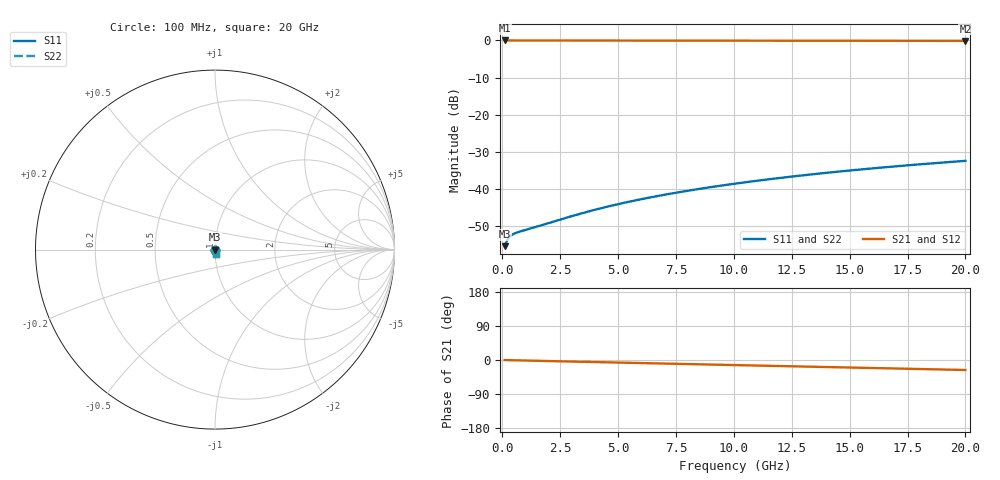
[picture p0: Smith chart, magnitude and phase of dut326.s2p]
! Touchstone file exported from HFSS 2026.1.0
!  File:  C:/ffzhzh/LocalFiles/Ansys_Project_Files/temp_train_BSMRDL_326_1783010926_4048.aedt
!  Generated:  12:50:03 AM Jul  3, 2026
!  Design:  BSMRDL
!  Project:  temp_train_BSMRDL_326_1783010926_4048
! Variables:
!  h_bsmrdl = 5.25um
!  h_ox = 20um
!  h_rdl = 5um
!  h_sub = 80um
!  h_tmrdl = 5um
!  h_tsv = 80um
!  h_via = 3um
!  l_bsmrdl = 470.49um
!  l_sub = 870.49um
!  l_tmrdl = 200um
!  m_sub = 200um
!  pitch = 27.28um
!  r_tsv = 6um
!  s_tmrdl = 10um
!  w_bsmrdl = 22.67um
!  w_sub = 500um
!  w_tmrdl = 12um
!  x_tsv_center1 = 206um
!  x_tsv_center2 = 699.16um
!  x_tsv_center3 = 911.16um
!  x_tsv_center4 = 1404.32um
!  x_tsv_center5 = 1616.32um
!  x_tsv_center6 = 2109.48um
# GHz S MA R 50.000000
! Terminal data exported
! Port[1] = BSM_RDL1_1_T1
! Port[2] = BSM_RDL1_1_T2
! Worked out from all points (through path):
!   200 points, 100 MHz to 20 GHz, reference 50 ohm
!   highest |S21| = -0.01 dB at 100 MHz (marker M1); lowest = -0.1 dB at 20 GHz (marker M2)
!   group delay of S21, straight-line fit = 3.64 ps
!   lowest |S11| = -55.4 dB at 100 MHz (marker M3), VSWR 1.00, Z = 50.2 + j0.0396 ohm
!   |S11| at or under -10 dB: start of sweep to end of sweep
!   |S22| runs from -55.4 to -32.4 dB; largest |S21 - S12| = 3.1e-15
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0.1  0.001705 13.4  0.9983 -0.2  0.9983 -0.2  0.001705 13.4
! Gamma 0 0 0 0
! Port Impedance 50 0 50 0
0.2  0.002023 16.5  0.9981 -0.3  0.9981 -0.3  0.002022 16.5
0.3  0.002253 15.4  0.9978 -0.4  0.9978 -0.4  0.002253 15.4
0.4  0.002401 13.8  0.9977 -0.6  0.9977 -0.6  0.002401 13.8
0.5  0.002503 12.4  0.9975 -0.7  0.9975 -0.7  0.002503 12.4
0.6  0.00258 11.3  0.9974 -0.9  0.9974 -0.9  0.00258 11.3
0.8  0.002704 9.6  0.9973 -1.1  0.9973 -1.1  0.002704 9.6
1.5  0.003123 5.9  0.9969 -2.1  0.9969 -2.1  0.003123 5.9
2.9  0.004234 -3.7  0.9958 -4.0  0.9958 -4.0  0.004234 -3.7
3.5  0.004785 -8.8  0.9952 -4.8  0.9952 -4.8  0.004786 -8.8
4.3  0.005561 -15.7  0.9945 -5.9  0.9945 -5.9  0.005561 -15.6
5.1  0.006369 -22.2  0.9938 -6.9  0.9938 -6.9  0.00637 -22.2
5.9  0.007203 -28.3  0.9932 -8.0  0.9932 -8.0  0.007204 -28.3
6.8  0.008167 -34.6  0.9926 -9.2  0.9926 -9.2  0.008168 -34.5
8.4  0.009936 -44.1  0.9916 -11.3  0.9916 -11.3  0.009938 -44.0
10.1  0.01188 -52.4  0.9906 -13.5  0.9906 -13.5  0.01189 -52.4
11.7  0.01377 -59.0  0.9898 -15.6  0.9898 -15.6  0.01377 -59.0
13.4  0.01582 -65.1  0.989 -17.8  0.989 -17.8  0.01582 -65.0
15  0.01777 -70.1  0.9883 -19.9  0.9883 -19.9  0.01778 -70.1
16.7  0.01987 -75.0  0.9875 -22.1  0.9875 -22.1  0.01988 -74.9
18.3  0.02186 -79.2  0.9868 -24.2  0.9868 -24.2  0.02186 -79.1
20  0.02397 -83.3  0.9862 -26.4  0.9862 -26.4  0.02397 -83.2
